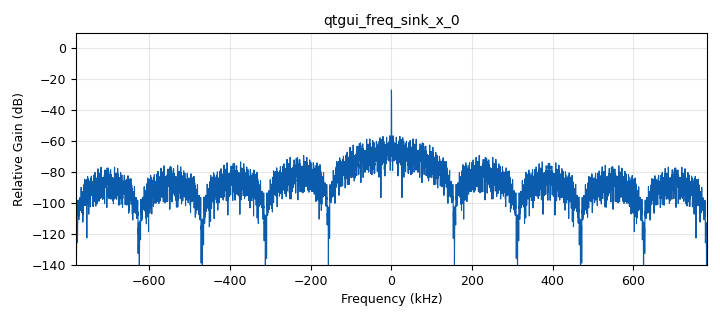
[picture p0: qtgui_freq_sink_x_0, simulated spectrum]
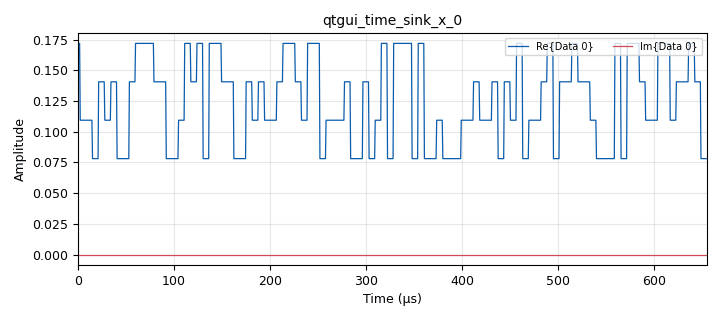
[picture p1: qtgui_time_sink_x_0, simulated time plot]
options:
  parameters:
    author: Javier Quiroga - Paula Rodriguez
    copyright: uis
    generate_options: qt_gui
    id: Modulador_de_amplitud
    output_language: python
    title: Modulador_de_amplitud
  states: {}

blocks:
- name: Ac
  id: variable_qtgui_range
  parameters:
    label: Amplitud_portadora
    start: '0'
    step: '1e-3'
    stop: '1'
    value: '125e-3'
  states: {}
- name: Am
  id: variable_qtgui_range
  parameters:
    label: Amplitud_mensaje
    start: '0'
    step: '100e-3'
    stop: '4'
    value: '1'
  states: {}
- name: B
  id: variable_qtgui_range
  parameters:
    label: '# muestras por simbolo'
    rangeType: int
    start: '1'
    step: '1'
    stop: '20'
    value: '10'
  states: {}
- name: GTX
  id: variable_qtgui_range
  parameters:
    label: Ganancia_transmisor
    start: '0'
    step: '1'
    stop: '30'
    value: '20'
  states: {}
- name: fc
  id: variable_qtgui_range
  parameters:
    label: frecuencia_portadora
    start: 50e6
    step: 1e6
    stop: 2.2e9
    value: 200e6
  states: {}
- name: fm
  id: variable_qtgui_range
  parameters:
    label: frecuencia_mensaje
    start: '300'
    step: '100'
    stop: samp_rate/4
    value: 1e3
  states: {}
- name: ka
  id: variable_qtgui_range
  parameters:
    start: '0'
    step: '0.1'
    stop: '10'
    value: '1'
  states: {}
- name: n
  id: variable
  parameters:
    value: '2'
  states: {}
- name: samp_rate
  id: variable
  parameters:
    value: 12500000/8
  states: {}
- name: variable_qtgui_range_0
  id: variable_qtgui_range
  parameters:
    start: '0'
    step: '1'
    stop: '100'
    value: '50'
  states: {state: disabled}
- name: Modulador_AM_0
  id: Modulador_AM
  parameters:
    Ac: Ac
    ka: k
  states: {state: disabled}
- name: analog_random_source_x_0
  id: analog_random_source_x
  parameters:
    alias: analog_random_source_x_0
    max: int(math.pow(2,n))
    min: '0'
    num_samps: '10000'
    repeat: 'True'
    type: byte
  states: {}
- name: analog_sig_source_x_0
  id: analog_sig_source_x
  parameters:
    amp: Am
    freq: fm
    offset: '0'
    phase: '0'
    samp_rate: samp_rate
    type: float
    waveform: analog.GR_SIN_WAVE
  states: {state: disabled}
- name: blocks_add_const_vxx_0
  id: blocks_add_const_vxx
  parameters:
    const: '1'
    type: float
  states: {}
- name: blocks_add_const_vxx_0_0
  id: blocks_add_const_vxx
  parameters:
    alias: blocks_add_const_vxx_0
    const: '-(math.pow(2,n)-1)/2'
    type: float
  states: {}
- name: blocks_float_to_complex_0
  id: blocks_float_to_complex
  parameters: {}
  states: {}
- name: blocks_multiply_const_vxx_0
  id: blocks_multiply_const_vxx
  parameters:
    const: ka
    type: float
  states: {}
- name: blocks_multiply_const_vxx_0_0
  id: blocks_multiply_const_vxx
  parameters:
    alias: blocks_mu
    const: 1/math.pow(2,n)
    type: float
  states: {}
- name: blocks_multiply_const_vxx_1
  id: blocks_multiply_const_vxx
  parameters:
    const: Ac
    type: complex
  states: {}
- name: blocks_null_source_0
  id: blocks_null_source
  parameters:
    type: float
  states: {}
- name: blocks_repeat_0
  id: blocks_repeat
  parameters:
    alias: blocks_repeat_0
    interp: B
    type: float
  states: {}
- name: blocks_throttle2_0
  id: blocks_throttle2
  parameters:
    samples_per_second: samp_rate
    type: byte
  states: {}
- name: blocks_uchar_to_float_0
  id: blocks_uchar_to_float
  parameters:
    alias: blocks_uchar_to_float_0
  states: {}
- name: import_0
  id: import
  parameters:
    alias: import
    imports: import math
  states: {}
- name: qtgui_freq_sink_x_0
  id: qtgui_freq_sink_x
  parameters:
    bw: samp_rate
    fc: '0'
    fftsize: '8192'
    type: complex
  states: {}
- name: qtgui_time_sink_x_0
  id: qtgui_time_sink_x
  parameters:
    autoscale: 'True'
    size: '1024'
    srate: samp_rate
    type: complex
  states: {}
- name: qtgui_time_sink_x_0_1
  id: qtgui_time_sink_x
  parameters:
    autoscale: 'True'
    grid: 'True'
    size: '1024'
    srate: samp_rate
    type: float
  states: {state: disabled}
- name: uhd_usrp_sink_0
  id: uhd_usrp_sink
  parameters:
    ant0: '"TX/RX"'
    center_freq0: fc
    gain0: GTX
    samp_rate: samp_rate
    sync: pc_clock
    type: fc32
  states: {}
- name: virtual_sink_0
  id: virtual_sink
  parameters:
    alias: virtual_sink_0
    stream_id: m_t
  states: {}
- name: virtual_source_0
  id: virtual_source
  parameters:
    stream_id: m_t
  states: {}

connections:
- [Modulador_AM_0, '0', qtgui_freq_sink_x_0, '0']
- [Modulador_AM_0, '0', qtgui_time_sink_x_0, '0']
- [Modulador_AM_0, '0', uhd_usrp_sink_0, '0']
- [analog_random_source_x_0, '0', blocks_throttle2_0, '0']
- [analog_sig_source_x_0, '0', Modulador_AM_0, '0']
- [analog_sig_source_x_0, '0', blocks_multiply_const_vxx_0, '0']
- [blocks_add_const_vxx_0, '0', blocks_float_to_complex_0, '0']
- [blocks_add_const_vxx_0_0, '0', blocks_multiply_const_vxx_0_0, '0']
- [blocks_float_to_complex_0, '0', blocks_multiply_const_vxx_1, '0']
- [blocks_multiply_const_vxx_0, '0', blocks_add_const_vxx_0, '0']
- [blocks_multiply_const_vxx_0_0, '0', qtgui_time_sink_x_0_1, '0']
- [blocks_multiply_const_vxx_0_0, '0', virtual_sink_0, '0']
- [blocks_multiply_const_vxx_1, '0', qtgui_freq_sink_x_0, '0']
- [blocks_multiply_const_vxx_1, '0', qtgui_time_sink_x_0, '0']
- [blocks_multiply_const_vxx_1, '0', uhd_usrp_sink_0, '0']
- [blocks_null_source_0, '0', blocks_float_to_complex_0, '1']
- [blocks_repeat_0, '0', blocks_add_const_vxx_0_0, '0']
- [blocks_throttle2_0, '0', blocks_uchar_to_float_0, '0']
- [blocks_uchar_to_float_0, '0', blocks_repeat_0, '0']
- [virtual_source_0, '0', blocks_multiply_const_vxx_0, '0']

metadata:
  file_format: 1
  grc_version: v3.11.0.0git-810-g1ecb8565
